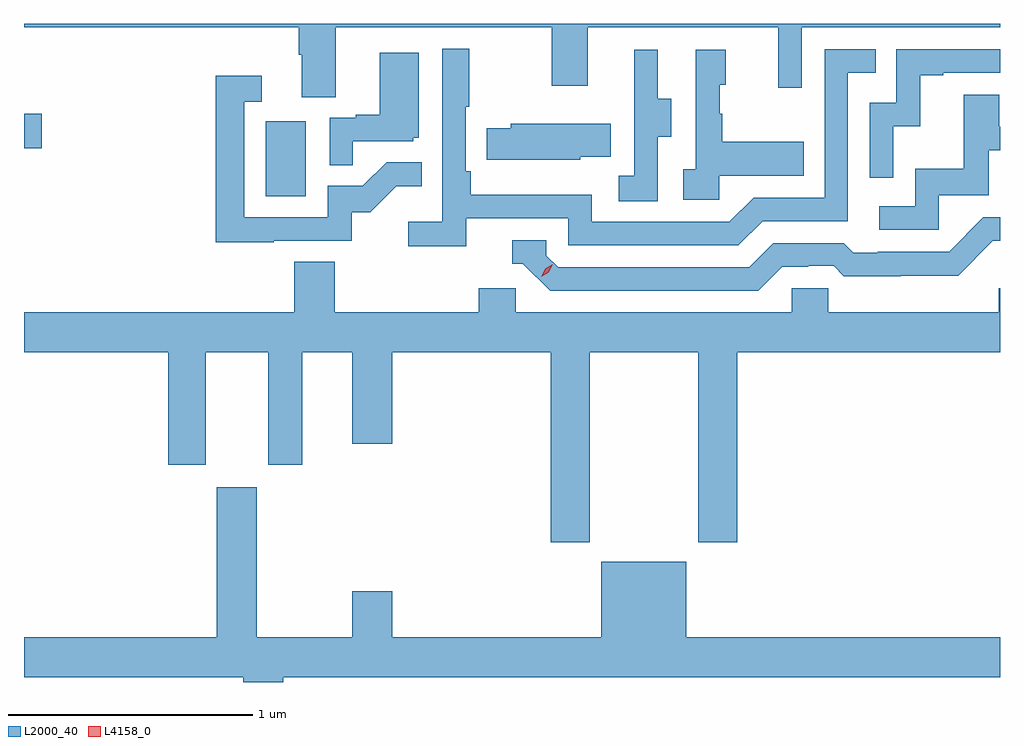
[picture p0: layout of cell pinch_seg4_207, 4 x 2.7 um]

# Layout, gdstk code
import gdstk
lib = gdstk.Library(unit=1e-6, precision=1e-09)
def R(c, l, rs):  # rectangles x0, y0, x1, y1
    for r in rs: c.add(gdstk.rectangle(r[:2], r[2:], *l))
def P(c, l, *ps):  # polygons
    for p in ps: c.add(gdstk.Polygon(p, *l))
L2000_40 = (2000, 40)
L4158_0 = (4158, 0)

pinch_seg4_207 = lib.new_cell('pinch_seg4_207')
R(pinch_seg4_207, L2000_40, [(991.826,832.092,991.99,832.399), (990.835,832.289,990.907,832.431)])
P(pinch_seg4_207, L2000_40, [(992.113,832.784),(992.998,832.784),(992.998,832.545),(993.145,832.545),(993.145,832.784),(993.926,832.784),(993.926,832.536),(994.023,832.536),(994.023,832.784),(994.835,832.784),(994.835,832.799),(990.835,832.799),(990.835,832.784),(991.961,832.784),(991.961,832.672),(991.973,832.672),(991.973,832.498),(992.113,832.498)],
  [(992.648,832.002),(993.066,832.002),(993.066,831.891),(993.763,831.891),(993.862,831.99),(994.212,831.99),(994.212,832.599),(994.325,832.599),(994.325,832.695),(994.116,832.695),(994.116,832.086),(993.825,832.086),(993.726,831.987),(993.162,831.987),(993.162,832.099),(992.665,832.099),(992.665,832.195),(992.646,832.195),(992.646,832.459),(992.659,832.459),(992.659,832.696),(992.55,832.696),(992.55,831.988),(992.409,831.988),(992.409,831.886),(992.648,831.886)],
  [(994.398,832.379),(994.508,832.379),(994.508,832.587),(994.603,832.587),(994.603,832.599),(994.835,832.599),(994.835,832.695),(994.41,832.695),(994.41,832.476),(994.302,832.476),(994.302,832.167),(994.398,832.167)],
  [(993.684,832.175),(994.031,832.175),(994.031,832.315),(993.697,832.315),(993.697,832.43),(993.687,832.43),(993.687,832.548),(993.712,832.548),(993.712,832.693),(993.588,832.693),(993.588,832.202),(993.537,832.202),(993.537,832.077),(993.684,832.077)],
  [(993.432,832.336),(993.487,832.336),(993.487,832.491),(993.433,832.491),(993.433,832.693),(993.335,832.693),(993.335,832.479),(993.336,832.479),(993.336,832.175),(993.273,832.175),(993.273,832.072),(993.432,832.072)],
  [(992.183,832.317),(992.43,832.317),(992.43,832.332),(992.452,832.332),(992.452,832.681),(992.294,832.681),(992.294,832.426),(992.195,832.426),(992.195,832.413),(992.088,832.413),(992.088,832.219),(992.183,832.219)],
  [(991.859,831.909),(992.178,831.909),(992.178,832.026),(992.254,832.026),(992.361,832.133),(992.465,832.133),(992.465,832.232),(992.321,832.232),(992.223,832.134),(992.079,832.134),(992.079,832.005),(991.737,832.005),(991.737,832.479),(991.81,832.479),(991.81,832.585),(991.621,832.585),(991.621,831.904),(991.859,831.904)],
  [(994.584,832.095),(994.789,832.095),(994.789,832.281),(994.835,832.281),(994.835,832.377),(994.831,832.377),(994.831,832.507),(994.687,832.507),(994.687,832.204),(994.488,832.204),(994.488,832.05),(994.341,832.05),(994.341,831.954),(994.584,831.954)],
  [(993.114,832.253),(993.239,832.253),(993.239,832.39),(992.829,832.39),(992.829,832.371),(992.731,832.371),(992.731,832.241),(993.114,832.241)],
  [(993.943,831.804),(994.05,831.804),(994.05,831.807),(994.153,831.807),(994.195,831.765),(994.428,831.765),(994.428,831.767),(994.664,831.767),(994.806,831.909),(994.835,831.909),(994.835,832.005),(994.767,832.005),(994.626,831.864),(994.333,831.864),(994.333,831.861),(994.234,831.861),(994.195,831.9),(993.906,831.9),(993.807,831.801),(993.024,831.801),(992.976,831.849),(992.976,831.912),(992.837,831.912),(992.837,831.816),(992.88,831.816),(992.991,831.705),(993.844,831.705)],
  [(993.153,831.452),(993.598,831.452),(993.598,830.673),(993.758,830.673),(993.758,831.452),(994.835,831.452),(994.835,831.714),(994.829,831.714),(994.829,831.616),(994.131,831.616),(994.131,831.714),(993.981,831.714),(993.981,831.616),(992.85,831.616),(992.85,831.714),(992.699,831.714),(992.699,831.616),(992.108,831.616),(992.108,831.824),(991.943,831.824),(991.943,831.616),(990.835,831.616),(990.835,831.452),(991.427,831.452),(991.427,830.991),(991.579,830.991),(991.579,831.452),(991.835,831.452),(991.835,830.991),(991.975,830.991),(991.975,831.452),(992.18,831.452),(992.18,831.078),(992.344,831.078),(992.344,831.452),(992.993,831.452),(992.993,830.673),(993.153,830.673)],
  [(991.898,830.12),(994.835,830.12),(994.835,830.284),(993.55,830.284),(993.55,830.593),(993.2,830.593),(993.2,830.284),(992.344,830.284),(992.344,830.473),(992.18,830.473),(992.18,830.284),(991.789,830.284),(991.789,830.899),(991.625,830.899),(991.625,830.284),(990.835,830.284),(990.835,830.12),(991.733,830.12),(991.733,830.1),(991.898,830.1)])
P(pinch_seg4_207, L4158_0, [(992.955,831.761),(992.955,831.762),(992.971,831.794),(993.002,831.813),(993.002,831.813),(993.002,831.813),(992.986,831.78),(992.955,831.761)])

lib.write_gds('pinch_seg4_207.gds')
